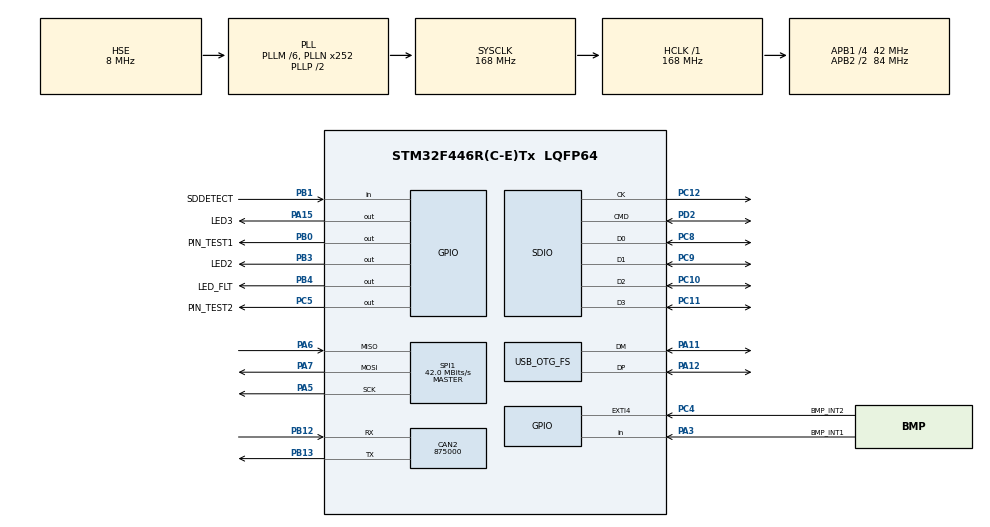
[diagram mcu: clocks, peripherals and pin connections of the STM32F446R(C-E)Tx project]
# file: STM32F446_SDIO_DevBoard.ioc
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CAN2.BS1=CAN_BS1_1TQ
CAN2.BS2=CAN_BS2_1TQ
CAN2.CalculateBaudRate=875000
CAN2.CalculateTimeBit=1142
CAN2.CalculateTimeQuantum=380.95238095238096
Dma.Request0=SDIO_TX
Dma.Request1=SDIO_RX
Dma.SDIO_RX.1.Direction=DMA_PERIPH_TO_MEMORY
Dma.SDIO_RX.1.FIFOMode=DMA_FIFOMODE_ENABLE
Dma.SDIO_RX.1.FIFOThreshold=DMA_FIFO_THRESHOLD_FULL
Dma.SDIO_RX.1.Instance=DMA2_Stream6
Dma.SDIO_RX.1.MemBurst=DMA_MBURST_INC4
Dma.SDIO_RX.1.MemDataAlignment=DMA_MDATAALIGN_WORD
Dma.SDIO_RX.1.MemInc=DMA_MINC_ENABLE
Dma.SDIO_RX.1.Mode=DMA_PFCTRL
Dma.SDIO_RX.1.PeriphBurst=DMA_PBURST_INC4
Dma.SDIO_RX.1.PeriphDataAlignment=DMA_PDATAALIGN_WORD
Dma.SDIO_RX.1.PeriphInc=DMA_PINC_DISABLE
Dma.SDIO_RX.1.Priority=DMA_PRIORITY_VERY_HIGH
Dma.SDIO_TX.0.Direction=DMA_MEMORY_TO_PERIPH
Dma.SDIO_TX.0.FIFOMode=DMA_FIFOMODE_ENABLE
Dma.SDIO_TX.0.FIFOThreshold=DMA_FIFO_THRESHOLD_FULL
Dma.SDIO_TX.0.Instance=DMA2_Stream3
Dma.SDIO_TX.0.MemBurst=DMA_MBURST_INC4
Dma.SDIO_TX.0.MemDataAlignment=DMA_MDATAALIGN_WORD
Dma.SDIO_TX.0.MemInc=DMA_MINC_ENABLE
Dma.SDIO_TX.0.Mode=DMA_PFCTRL
Dma.SDIO_TX.0.PeriphBurst=DMA_PBURST_INC4
Dma.SDIO_TX.0.PeriphDataAlignment=DMA_PDATAALIGN_WORD
Dma.SDIO_TX.0.PeriphInc=DMA_PINC_DISABLE
Dma.SDIO_TX.0.Priority=DMA_PRIORITY_VERY_HIGH
FATFS.BSP.number=1
FATFS.USE_DMA_CODE_SD=1
FATFS._FS_EXFAT=1
FATFS._FS_LOCK=1
FATFS._FS_TIMEOUT=1
FATFS._FS_TINY=0
FATFS._MAX_SS=4096
FATFS._MIN_SS=512
FATFS._USE_EXPAND=1
FATFS._USE_FIND=1
FATFS._USE_LFN=1
FATFS0.BSP.STBoard=false
FATFS0.BSP.api=Unknown
FATFS0.BSP.instance=PB1
FATFS0.BSP.ip=GPIO
FATFS0.BSP.mode=Input
FATFS0.BSP.name=Detect_SDIO
FATFS0.BSP.solution=PB1
Mcu.Family=STM32F4
Mcu.Name=STM32F446R(C-E)Tx
Mcu.Package=LQFP64
NVIC.DMA2_Stream3_IRQn=true\:0\:0\:false\:false\:true\:false\:true\:true
NVIC.DMA2_Stream6_IRQn=true\:0\:0\:false\:false\:true\:false\:true\:true
NVIC.OTG_FS_IRQn=true\:0\:0\:false\:false\:true\:true\:true\:true
NVIC.PriorityGroup=NVIC_PRIORITYGROUP_4
NVIC.SDIO_IRQn=true\:0\:0\:false\:false\:true\:true\:true\:true
NVIC.TIM7_IRQn=true\:3\:0\:true\:false\:true\:true\:true\:true
PA11.Mode=Device_Only
PA11.Signal=USB_OTG_FS_DM
PA12.Mode=Device_Only
PA12.Signal=USB_OTG_FS_DP
PA13.Mode=Serial_Wire
PA13.Signal=SYS_JTMS-SWDIO
PA14.Mode=Serial_Wire
PA14.Signal=SYS_JTCK-SWCLK
PA15.GPIO_Label=LED3
PA15.Signal=GPIO_Output
PA3.GPIO_Label=BMP_INT1
PA3.Signal=GPIO_Input
PA5.Mode=Full_Duplex_Master
PA5.Signal=SPI1_SCK
PA6.Mode=Full_Duplex_Master
PA6.Signal=SPI1_MISO
PA7.Mode=Full_Duplex_Master
PA7.Signal=SPI1_MOSI
PB0.GPIO_Label=PIN_TEST1
PB0.Signal=GPIO_Output
PB1.GPIO_Label=SDDETECT
PB1.Signal=GPIO_Input
PB12.Mode=CAN_Activate
PB12.Signal=CAN2_RX
PB13.Mode=CAN_Activate
PB13.Signal=CAN2_TX
PB3.GPIO_Label=LED2
PB3.Signal=GPIO_Output
PB4.GPIO_Label=LED_FLT
PB4.Signal=GPIO_Output
PC10.GPIO_PuPd=GPIO_PULLUP
PC10.GPIO_Speed_High_Default=GPIO_SPEED_FREQ_VERY_HIGH
PC10.Mode=SD_4_bits_Wide_bus
PC10.Signal=SDIO_D2
PC11.GPIO_PuPd=GPIO_PULLUP
PC11.GPIO_Speed_High_Default=GPIO_SPEED_FREQ_VERY_HIGH
PC11.Mode=SD_4_bits_Wide_bus
PC11.Signal=SDIO_D3
PC12.GPIO_Speed_High_Default=GPIO_SPEED_FREQ_VERY_HIGH
PC12.Mode=SD_4_bits_Wide_bus
PC12.Signal=SDIO_CK
PC4.GPIO_Label=BMP_INT2
PC4.Signal=GPXTI4
PC5.GPIO_Label=PIN_TEST2
PC5.Signal=GPIO_Output
PC8.GPIO_PuPd=GPIO_PULLUP
PC8.GPIO_Speed_High_Default=GPIO_SPEED_FREQ_VERY_HIGH
PC8.Mode=SD_4_bits_Wide_bus
PC8.Signal=SDIO_D0
PC9.GPIO_PuPd=GPIO_PULLUP
PC9.GPIO_Speed_High_Default=GPIO_SPEED_FREQ_VERY_HIGH
PC9.Mode=SD_4_bits_Wide_bus
PC9.Signal=SDIO_D1
PD2.GPIO_PuPd=GPIO_PULLUP
PD2.GPIO_Speed_High_Default=GPIO_SPEED_FREQ_VERY_HIGH
PD2.Mode=SD_4_bits_Wide_bus
PD2.Signal=SDIO_CMD
PH0-OSC_IN.Mode=HSE-External-Oscillator
PH0-OSC_IN.Signal=RCC_OSC_IN
PH1-OSC_OUT.Mode=HSE-External-Oscillator
PH1-OSC_OUT.Signal=RCC_OSC_OUT
ProjectManager.HeapSize=0x200
ProjectManager.StackSize=0x400
ProjectManager.TargetToolchain=STM32CubeIDE
RCC.AHBFreq_Value=168000000
RCC.APB1CLKDivider=RCC_HCLK_DIV4
RCC.APB1Freq_Value=42000000
RCC.APB1TimFreq_Value=84000000
RCC.APB2CLKDivider=RCC_HCLK_DIV2
RCC.APB2Freq_Value=84000000
RCC.APB2TimFreq_Value=168000000
RCC.CortexFreq_Value=168000000
RCC.HCLKFreq_Value=168000000
RCC.HSE_VALUE=8000000
RCC.PLLM=6
RCC.PLLN=252
RCC.PLLQ=7
RCC.SYSCLKFreq_VALUE=168000000
RCC.SYSCLKSource=RCC_SYSCLKSOURCE_PLLCLK
RCC.USBFreq_Value=48000000
RCC.VCOOutputFreq_Value=336000000
SDIO.ClockDiv=4
SPI1.CalculateBaudRate=42.0 MBits/s
SPI1.Direction=SPI_DIRECTION_2LINES
SPI1.Mode=SPI_MODE_MASTER
SPI1.VirtualType=VM_MASTER
TIM2.Prescaler=84-1
TIM6.Period=65535
TIM6.Prescaler=83
TIM7.Period=26000
USB_DEVICE.CLASS_NAME_FS=CDC
USB_DEVICE.PRODUCT_STRING_CDC_FS=STM32 VirtualComPort
USB_DEVICE.VirtualMode-CDC_FS=Cdc
USB_DEVICE.VirtualModeFS=Cdc_FS
USB_OTG_FS.VirtualMode=Device_Only
VP_FATFS_VS_SDIO.Mode=SDIO
VP_TIM2_VS_ClockSourceINT.Mode=Internal
VP_TIM3_VS_ClockSourceINT.Mode=Internal
VP_TIM6_VS_ClockSourceINT.Mode=Enable_Timer
VP_TIM7_VS_ClockSourceINT.Mode=Enable_Timer
VP_USB_DEVICE_VS_USB_DEVICE_CDC_FS.Mode=CDC_FS
board=custom

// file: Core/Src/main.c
/* USER CODE BEGIN Header */
/**
  ******************************************************************************
  * @file           : main.c
  * @brief          : Main program body
  ******************************************************************************
  * @attention
  *
  * Copyright (c) 2023 STMicroelectronics.
  * All rights reserved.
  *
  * This software is licensed under terms that can be found in the LICENSE file
  * in the root directory of this software component.
  * If no LICENSE file comes with this software, it is provided AS-IS.
  *
  ******************************************************************************
  */
/* USER CODE END Header */
#include "main.h"
#include "fatfs.h"
#include "usb_device.h"

/* USER CODE BEGIN Includes */
#include "VCP.h"
#include "blackbox.h"
#include "time.h"
#include "cpu_load.h"
#include "project_resources.h"
#include "console.h"
/* USER CODE END Includes */

/* USER CODE BEGIN PD */
//#define microsTimer htim2
/* USER CODE END PD */

CAN_HandleTypeDef hcan2;

SD_HandleTypeDef hsd;
DMA_HandleTypeDef hdma_sdio_tx;
DMA_HandleTypeDef hdma_sdio_rx;

SPI_HandleTypeDef hspi1;

TIM_HandleTypeDef htim2;
TIM_HandleTypeDef htim3;
TIM_HandleTypeDef htim6;
TIM_HandleTypeDef htim7;

/* USER CODE BEGIN PV */
//cpuLoad_t cpuLoadDelay;
//cpuLoad_t cpuLoadBlackbox;
//cpuLoad_t cpuLoadUSB;
//cpuLoad_t cpuLoadCLI;
//
//uint32_t delayMicroseconds = 100;

/* USER CODE END PV */

void SystemClock_Config(void);
static void MX_GPIO_Init(void);
static void MX_DMA_Init(void);
static void MX_CAN2_Init(void);
static void MX_SDIO_SD_Init(void);
static void MX_SPI1_Init(void);
static void MX_TIM3_Init(void);
static void MX_TIM7_Init(void);
static void MX_TIM6_Init(void);
static void MX_TIM2_Init(void);
/* USER CODE BEGIN PFP */
//void printCLI();
//void streamData();

/* USER CODE END PFP */

/* USER CODE BEGIN 0 */

/* USB VCP CLI */
//uint8_t sprintfBuffer[512] = {'\0'};
//
//uint32_t lastMillis = 0;
//uint32_t stopBlink = 0;
//uint32_t streamSDIO = 0;
//uint16_t writePeriod = 10;
//
///* SD card benchmarking */
//uint8_t doSDBenchmark = 0;
//
//volatile uint8_t simNewDataFlag = 0;
//
///* USB VCP CLI */
//uint8_t streamDataSet = 0;
//uint8_t streamBuffRem = 0;

/* USER CODE END 0 */

int main(void)
{

  /* MCU Configuration--------------------------------------------------------*/

  /* Reset of all peripherals, Initializes the Flash interface and the Systick. */
  HAL_Init();

  /* Configure the system clock */
  SystemClock_Config();

  /* Initialize all configured peripherals */
  MX_GPIO_Init();
  MX_DMA_Init();
  MX_CAN2_Init();
  MX_SDIO_SD_Init();
  MX_USB_DEVICE_Init();
  MX_SPI1_Init();
  MX_FATFS_Init();
  MX_TIM3_Init();
  MX_TIM7_Init();
  MX_TIM6_Init();
  MX_TIM2_Init();
  /* USER CODE BEGIN 2 */
  HAL_TIM_Base_Start_IT(&htim7);

  microsInit(&microsTimer);
  cpuLoad_Init(&cpuLoadDelay);
  cpuLoad_Init(&cpuLoadBlackbox);
  cpuLoad_Init(&cpuLoadUSB);
  cpuLoad_Init(&cpuLoadCLI);

  uint8_t sdResult;
  sdResult = blackbox_Init();

  if(sdResult == BLACKBOX_OK)
  {
	  uint8_t sdHeader[256];
	  sprintf(sdHeader, "Param1\n\rParam2\n\rParam3\n\rParam4\n\rParam5\n\r$$ end of header\n\r");
	  blackbox_SetHeader(sdHeader, strlen(sdHeader));

//	  sdResult = blackbox_CreateFile(loggingFileSize);
  }
  if(sdResult != FR_OK)
  {
//	  Error_Handler();
	  uint32_t sdErrorStartMillis = HAL_GetTick();
	  uint32_t sdErrorBlinkTime = sdErrorStartMillis;
	  while(HAL_GetTick() - sdErrorStartMillis < 5000)
	  {
		  if(HAL_GetTick() - sdErrorBlinkTime > 50)
		  {
			  sdErrorBlinkTime = HAL_GetTick();
			  HAL_GPIO_TogglePin(LED_FLT_GPIO_Port, LED_FLT_Pin);
		  }
	  }
  }

  cpuLoad_Reset();
  /* USER CODE END 2 */

  /* Infinite loop */
  /* USER CODE BEGIN WHILE */
  while (1)
  {
//HAL_GPIO_WritePin(PIN_TEST2_GPIO_Port, PIN_TEST2_Pin, GPIO_PIN_SET);

	  // Runtime LED blinking
	  if(HAL_GetTick() - lastMillis >= 200){
		  lastMillis = HAL_GetTick();
		  if(!stopBlink) HAL_GPIO_TogglePin(LED_FLT_GPIO_Port, LED_FLT_Pin);
	  }

	  cpuLoad_Start(&cpuLoadBlackbox);
	  if(streamSDIO)
	  {
		  static uint32_t lastSDMillis = 0;
		  if(simNewDataFlag)
		  {
			  simNewDataFlag = 0;
HAL_GPIO_WritePin(PIN_TEST1_GPIO_Port, PIN_TEST1_Pin, GPIO_PIN_SET);

			  uint8_t sdBuff[512] = {'\0'};
			  static uint32_t numLogs = 0;
//			  sprintf(sdBuff, "%u,4321,5678,8765,1111,2222,3333,4444,5555,6666,7777,8888,9999,\n", getMircos());
//			  sprintf(sdBuff, "%u,4321,5678,8765,1111,2222,3333,4444,5555,6666,7777,8888,9999,5678,6789,9876,8765,6543,4567,1245,5432,7654,8796,ENDS,\n", ++numLogs);

			  /* 84uS - 100uS to use sprintf */
//			  sprintf(sdBuff, "%u,%u,%u,%u,%u,%u,%u,%u,%u,%u,\n",
//					  getMircos(),
//					  (int16_t)(gyroPitchRaw*10.0f),
//					  (int16_t)(gyroPitchFilt*10.0f),
//					  (int16_t)(gyroRollRaw*10.0f),
//					  (int16_t)(gyroRollFilt*10.0f),
//					  (int16_t)(gyroYawRaw*10.0f),
//					  (int16_t)(gyroYawFilt*10.0f),
//					  (int16_t)(pitchP*1000.0f),
//					  (int16_t)(pitchI*1000.0f),
//					  (int16_t)(pitchD*1000.0f)
//					  );
//			  blackbox_BufferData(sdBuff, strlen(sdBuff));

			  /* 84uS - 25uS to use sprintf */
			  uint32_t microsNow = getMircos();
			  uint8_t frameIndex = 0;
			  blackboxFrame[frameIndex++] = 'S';
			  blackboxFrame[frameIndex++] = 'O';
			  blackboxFrame[frameIndex++] = 'F';
			  blackboxFrame[frameIndex++] = (microsNow >> 24) & 0xFF;
			  blackboxFrame[frameIndex++] = (microsNow >> 16) & 0xFF;
			  blackboxFrame[frameIndex++] = (microsNow >> 8) & 0xFF;
			  blackboxFrame[frameIndex++] = microsNow & 0xFF;
			  blackboxFrame[frameIndex++] = (((int16_t)(gyroPitchRaw*10.0f)) >> 8) & 0xFF;
			  blackboxFrame[frameIndex++] = ((int16_t)(gyroPitchRaw*10.0f)) & 0xFF;
			  blackboxFrame[frameIndex++] = (((int16_t)(gyroPitchFilt*10.0f)) >> 8) & 0xFF;
			  blackboxFrame[frameIndex++] = ((int16_t)(gyroPitchFilt*10.0f)) & 0xFF;
			  blackboxFrame[frameIndex++] = (((int16_t)(gyroRollRaw*10.0f)) >> 8) & 0xFF;
			  blackboxFrame[frameIndex++] = ((int16_t)(gyroRollRaw*10.0f)) & 0xFF;
			  blackboxFrame[frameIndex++] = (((int16_t)(gyroRollFilt*10.0f)) >> 8) & 0xFF;
			  blackboxFrame[frameIndex++] = ((int16_t)(gyroRollFilt*10.0f)) & 0xFF;
			  blackboxFrame[frameIndex++] = (((int16_t)(gyroYawRaw*10.0f)) >> 8) & 0xFF;
			  blackboxFrame[frameIndex++] = ((int16_t)(gyroYawRaw*10.0f)) & 0xFF;
			  blackboxFrame[frameIndex++] = (((int16_t)(gyroYawFilt*10.0f)) >> 8) & 0xFF;
			  blackboxFrame[frameIndex++] = ((int16_t)(gyroYawFilt*10.0f)) & 0xFF;
			  blackboxFrame[frameIndex++] = (((int16_t)(pitchP*1000.0f)) >> 8) & 0xFF;
			  blackboxFrame[frameIndex++] = ((int16_t)(pitchP*1000.0f)) & 0xFF;
			  blackboxFrame[frameIndex++] = (((int16_t)(pitchI*1000.0f)) >> 8) & 0xFF;
			  blackboxFrame[frameIndex++] = ((int16_t)(pitchI*1000.0f)) & 0xFF;
			  blackboxFrame[frameIndex++] = (((int16_t)(pitchD*1000.0f)) >> 8) & 0xFF;
			  blackboxFrame[frameIndex++] = ((int16_t)(pitchD*1000.0f)) & 0xFF;
			  blackbox_BufferData(blackboxFrame, (frameIndex));

HAL_GPIO_WritePin(PIN_TEST1_GPIO_Port, PIN_TEST1_Pin, GPIO_PIN_RESET);
		  }
	  }
//	  HAL_GPIO_WritePin(PIN_TEST2_GPIO_Port, PIN_TEST2_Pin, GPIO_PIN_SET);
	  blackbox_ProcessData(); // If new dataPending / send to DMA takes 55uS otherwise <1uS
//	  HAL_GPIO_WritePin(PIN_TEST2_GPIO_Port, PIN_TEST2_Pin, GPIO_PIN_RESET);
	  cpuLoad_End(&cpuLoadBlackbox);

	  cpuLoad_Start(&cpuLoadDelay);
//	  if(simNewDataFlag)
//	  {
//		  simNewDataFlag = 0;
//		  uint32_t tickstart = getMircos();
//		  while((getMircos() - tickstart) < delayMicroseconds)
//		  {
//
//		  }
//	  }
	  cpuLoad_End(&cpuLoadDelay);

//	 blackboxSDBenchmark(doSDBenchmark);
	  /* USB VCP CLI */
	  cpuLoad_Start(&cpuLoadCLI);
	  if(vcp_getRxCount()){printCLI();}
	  cpuLoad_End(&cpuLoadCLI);
	  streamData();
	  cpuLoad_Process();

    /* USER CODE END WHILE */

    /* USER CODE BEGIN 3 */
//HAL_GPIO_WritePin(PIN_TEST2_GPIO_Port, PIN_TEST2_Pin, GPIO_PIN_RESET);
  }
  /* USER CODE END 3 */
}

void SystemClock_Config(void)
{
  RCC_OscInitTypeDef RCC_OscInitStruct = {0};
  RCC_ClkInitTypeDef RCC_ClkInitStruct = {0};

  /** Configure the main internal regulator output voltage
  */
  __HAL_RCC_PWR_CLK_ENABLE();
  __HAL_PWR_VOLTAGESCALING_CONFIG(PWR_REGULATOR_VOLTAGE_SCALE1);

  /** Initializes the RCC Oscillators according to the specified parameters
  * in the RCC_OscInitTypeDef structure.
  */
  RCC_OscInitStruct.OscillatorType = RCC_OSCILLATORTYPE_HSE;
  RCC_OscInitStruct.HSEState = RCC_HSE_ON;
  RCC_OscInitStruct.PLL.PLLState = RCC_PLL_ON;
  RCC_OscInitStruct.PLL.PLLSource = RCC_PLLSOURCE_HSE;
  RCC_OscInitStruct.PLL.PLLM = 6;
  RCC_OscInitStruct.PLL.PLLN = 252;
  RCC_OscInitStruct.PLL.PLLP = RCC_PLLP_DIV2;
  RCC_OscInitStruct.PLL.PLLQ = 7;
  RCC_OscInitStruct.PLL.PLLR = 2;
  if (HAL_RCC_OscConfig(&RCC_OscInitStruct) != HAL_OK)
  {
    Error_Handler();
  }

  /** Initializes the CPU, AHB and APB buses clocks
  */
  RCC_ClkInitStruct.ClockType = RCC_CLOCKTYPE_HCLK|RCC_CLOCKTYPE_SYSCLK
                              |RCC_CLOCKTYPE_PCLK1|RCC_CLOCKTYPE_PCLK2;
  RCC_ClkInitStruct.SYSCLKSource = RCC_SYSCLKSOURCE_PLLCLK;
  RCC_ClkInitStruct.AHBCLKDivider = RCC_SYSCLK_DIV1;
  RCC_ClkInitStruct.APB1CLKDivider = RCC_HCLK_DIV4;
  RCC_ClkInitStruct.APB2CLKDivider = RCC_HCLK_DIV2;

  if (HAL_RCC_ClockConfig(&RCC_ClkInitStruct, FLASH_LATENCY_5) != HAL_OK)
  {
    Error_Handler();
  }
}

static void MX_CAN2_Init(void)
{

  hcan2.Instance = CAN2;
  hcan2.Init.Prescaler = 16;
  hcan2.Init.Mode = CAN_MODE_NORMAL;
  hcan2.Init.SyncJumpWidth = CAN_SJW_1TQ;
  hcan2.Init.TimeSeg1 = CAN_BS1_1TQ;
  hcan2.Init.TimeSeg2 = CAN_BS2_1TQ;
  hcan2.Init.TimeTriggeredMode = DISABLE;
  hcan2.Init.AutoBusOff = DISABLE;
  hcan2.Init.AutoWakeUp = DISABLE;
  hcan2.Init.AutoRetransmission = DISABLE;
  hcan2.Init.ReceiveFifoLocked = DISABLE;
  hcan2.Init.TransmitFifoPriority = DISABLE;
  if (HAL_CAN_Init(&hcan2) != HAL_OK)
  {
    Error_Handler();
  }

}

static void MX_SDIO_SD_Init(void)
{

  hsd.Instance = SDIO;
  hsd.Init.ClockEdge = SDIO_CLOCK_EDGE_RISING;
  hsd.Init.ClockBypass = SDIO_CLOCK_BYPASS_DISABLE;
  hsd.Init.ClockPowerSave = SDIO_CLOCK_POWER_SAVE_DISABLE;
  hsd.Init.BusWide = SDIO_BUS_WIDE_4B;
  hsd.Init.HardwareFlowControl = SDIO_HARDWARE_FLOW_CONTROL_DISABLE;
  hsd.Init.ClockDiv = 4;
  /* USER CODE BEGIN SDIO_Init 2 */
  hsd.Init.BusWide = SDIO_BUS_WIDE_1B; // cubeMX issue must default to 1 bit wide bus then init function updates to 4
  /* USER CODE END SDIO_Init 2 */

}

static void MX_SPI1_Init(void)
{

  /* SPI1 parameter configuration*/
  hspi1.Instance = SPI1;
  hspi1.Init.Mode = SPI_MODE_MASTER;
  hspi1.Init.Direction = SPI_DIRECTION_2LINES;
  hspi1.Init.DataSize = SPI_DATASIZE_8BIT;
  hspi1.Init.CLKPolarity = SPI_POLARITY_LOW;
  hspi1.Init.CLKPhase = SPI_PHASE_1EDGE;
  hspi1.Init.NSS = SPI_NSS_SOFT;
  hspi1.Init.BaudRatePrescaler = SPI_BAUDRATEPRESCALER_2;
  hspi1.Init.FirstBit = SPI_FIRSTBIT_MSB;
  hspi1.Init.TIMode = SPI_TIMODE_DISABLE;
  hspi1.Init.CRCCalculation = SPI_CRCCALCULATION_DISABLE;
  hspi1.Init.CRCPolynomial = 10;
  if (HAL_SPI_Init(&hspi1) != HAL_OK)
  {
    Error_Handler();
  }

}

static void MX_TIM2_Init(void)
{

  TIM_ClockConfigTypeDef sClockSourceConfig = {0};
  TIM_MasterConfigTypeDef sMasterConfig = {0};

  htim2.Instance = TIM2;
  htim2.Init.Prescaler = 84-1;
  htim2.Init.CounterMode = TIM_COUNTERMODE_UP;
  htim2.Init.Period = 4294967295;
  htim2.Init.ClockDivision = TIM_CLOCKDIVISION_DIV1;
  htim2.Init.AutoReloadPreload = TIM_AUTORELOAD_PRELOAD_DISABLE;
  if (HAL_TIM_Base_Init(&htim2) != HAL_OK)
  {
    Error_Handler();
  }
  sClockSourceConfig.ClockSource = TIM_CLOCKSOURCE_INTERNAL;
  if (HAL_TIM_ConfigClockSource(&htim2, &sClockSourceConfig) != HAL_OK)
  {
    Error_Handler();
  }
  sMasterConfig.MasterOutputTrigger = TIM_TRGO_RESET;
  sMasterConfig.MasterSlaveMode = TIM_MASTERSLAVEMODE_DISABLE;
  if (HAL_TIMEx_MasterConfigSynchronization(&htim2, &sMasterConfig) != HAL_OK)
  {
    Error_Handler();
  }

}

static void MX_TIM3_Init(void)
{

  TIM_ClockConfigTypeDef sClockSourceConfig = {0};
  TIM_MasterConfigTypeDef sMasterConfig = {0};

  htim3.Instance = TIM3;
  htim3.Init.Prescaler = 0;
  htim3.Init.CounterMode = TIM_COUNTERMODE_UP;
  htim3.Init.Period = 65535;
  htim3.Init.ClockDivision = TIM_CLOCKDIVISION_DIV1;
  htim3.Init.AutoReloadPreload = TIM_AUTORELOAD_PRELOAD_DISABLE;
  if (HAL_TIM_Base_Init(&htim3) != HAL_OK)
  {
    Error_Handler();
  }
  sClockSourceConfig.ClockSource = TIM_CLOCKSOURCE_INTERNAL;
  if (HAL_TIM_ConfigClockSource(&htim3, &sClockSourceConfig) != HAL_OK)
  {
    Error_Handler();
  }
  sMasterConfig.MasterOutputTrigger = TIM_TRGO_RESET;
  sMasterConfig.MasterSlaveMode = TIM_MASTERSLAVEMODE_DISABLE;
  if (HAL_TIMEx_MasterConfigSynchronization(&htim3, &sMasterConfig) != HAL_OK)
  {
    Error_Handler();
  }

}

static void MX_TIM6_Init(void)
{

  TIM_MasterConfigTypeDef sMasterConfig = {0};

  htim6.Instance = TIM6;
  htim6.Init.Prescaler = 83;
  htim6.Init.CounterMode = TIM_COUNTERMODE_UP;
  htim6.Init.Period = 65535;
  htim6.Init.AutoReloadPreload = TIM_AUTORELOAD_PRELOAD_DISABLE;
  if (HAL_TIM_Base_Init(&htim6) != HAL_OK)
  {
    Error_Handler();
  }
  sMasterConfig.MasterOutputTrigger = TIM_TRGO_RESET;
  sMasterConfig.MasterSlaveMode = TIM_MASTERSLAVEMODE_DISABLE;
  if (HAL_TIMEx_MasterConfigSynchronization(&htim6, &sMasterConfig) != HAL_OK)
  {
    Error_Handler();
  }

}

static void MX_TIM7_Init(void)
{

  TIM_MasterConfigTypeDef sMasterConfig = {0};

  htim7.Instance = TIM7;
  htim7.Init.Prescaler = 0;
  htim7.Init.CounterMode = TIM_COUNTERMODE_UP;
  htim7.Init.Period = 26000;
  htim7.Init.AutoReloadPreload = TIM_AUTORELOAD_PRELOAD_DISABLE;
  if (HAL_TIM_Base_Init(&htim7) != HAL_OK)
  {
    Error_Handler();
  }
  sMasterConfig.MasterOutputTrigger = TIM_TRGO_RESET;
  sMasterConfig.MasterSlaveMode = TIM_MASTERSLAVEMODE_DISABLE;
  if (HAL_TIMEx_MasterConfigSynchronization(&htim7, &sMasterConfig) != HAL_OK)
  {
    Error_Handler();
  }

}

static void MX_DMA_Init(void)
{

  /* DMA controller clock enable */
  __HAL_RCC_DMA2_CLK_ENABLE();

  /* DMA interrupt init */
  /* DMA2_Stream3_IRQn interrupt configuration */
  HAL_NVIC_SetPriority(DMA2_Stream3_IRQn, 0, 0);
  HAL_NVIC_EnableIRQ(DMA2_Stream3_IRQn);
  /* DMA2_Stream6_IRQn interrupt configuration */
  HAL_NVIC_SetPriority(DMA2_Stream6_IRQn, 0, 0);
  HAL_NVIC_EnableIRQ(DMA2_Stream6_IRQn);

}

static void MX_GPIO_Init(void)
{
  GPIO_InitTypeDef GPIO_InitStruct = {0};

  /* GPIO Ports Clock Enable */
  __HAL_RCC_GPIOH_CLK_ENABLE();
  __HAL_RCC_GPIOA_CLK_ENABLE();
  __HAL_RCC_GPIOC_CLK_ENABLE();
  __HAL_RCC_GPIOB_CLK_ENABLE();
  __HAL_RCC_GPIOD_CLK_ENABLE();

  /*Configure GPIO pin Output Level */
  HAL_GPIO_WritePin(PIN_TEST2_GPIO_Port, PIN_TEST2_Pin, GPIO_PIN_RESET);

  /*Configure GPIO pin Output Level */
  HAL_GPIO_WritePin(GPIOB, PIN_TEST1_Pin|LED2_Pin|LED_FLT_Pin, GPIO_PIN_RESET);

  /*Configure GPIO pin Output Level */
  HAL_GPIO_WritePin(LED3_GPIO_Port, LED3_Pin, GPIO_PIN_RESET);

  /*Configure GPIO pin : BMP_INT1_Pin */
  GPIO_InitStruct.Pin = BMP_INT1_Pin;
  GPIO_InitStruct.Mode = GPIO_MODE_INPUT;
  GPIO_InitStruct.Pull = GPIO_NOPULL;
  HAL_GPIO_Init(BMP_INT1_GPIO_Port, &GPIO_InitStruct);

  /*Configure GPIO pin : BMP_INT2_Pin */
  GPIO_InitStruct.Pin = BMP_INT2_Pin;
  GPIO_InitStruct.Mode = GPIO_MODE_IT_RISING;
  GPIO_InitStruct.Pull = GPIO_NOPULL;
  HAL_GPIO_Init(BMP_INT2_GPIO_Port, &GPIO_InitStruct);

  /*Configure GPIO pin : PIN_TEST2_Pin */
  GPIO_InitStruct.Pin = PIN_TEST2_Pin;
  GPIO_InitStruct.Mode = GPIO_MODE_OUTPUT_PP;
  GPIO_InitStruct.Pull = GPIO_NOPULL;
  GPIO_InitStruct.Speed = GPIO_SPEED_FREQ_LOW;
  HAL_GPIO_Init(PIN_TEST2_GPIO_Port, &GPIO_InitStruct);

  /*Configure GPIO pins : PIN_TEST1_Pin LED2_Pin LED_FLT_Pin */
  GPIO_InitStruct.Pin = PIN_TEST1_Pin|LED2_Pin|LED_FLT_Pin;
  GPIO_InitStruct.Mode = GPIO_MODE_OUTPUT_PP;
  GPIO_InitStruct.Pull = GPIO_NOPULL;
  GPIO_InitStruct.Speed = GPIO_SPEED_FREQ_LOW;
  HAL_GPIO_Init(GPIOB, &GPIO_InitStruct);

  /*Configure GPIO pin : SDDETECT_Pin */
  GPIO_InitStruct.Pin = SDDETECT_Pin;
  GPIO_InitStruct.Mode = GPIO_MODE_INPUT;
  GPIO_InitStruct.Pull = GPIO_NOPULL;
  HAL_GPIO_Init(SDDETECT_GPIO_Port, &GPIO_InitStruct);

  /*Configure GPIO pin : LED3_Pin */
  GPIO_InitStruct.Pin = LED3_Pin;
  GPIO_InitStruct.Mode = GPIO_MODE_OUTPUT_PP;
  GPIO_InitStruct.Pull = GPIO_NOPULL;
  GPIO_InitStruct.Speed = GPIO_SPEED_FREQ_LOW;
  HAL_GPIO_Init(LED3_GPIO_Port, &GPIO_InitStruct);

}

/* USER CODE BEGIN 4 */

int _write(int file, char *data, int len)
{
	uint8_t usbReturnStatus = CDC_Transmit_FS((uint8_t*) data, len);
	if(usbReturnStatus) return 0;
//   if(usbReturnStatus)
//   {
//	   for(int i=0; i<500; i++)
//	   {
//		   usbReturnStatus = CDC_Transmit_FS((uint8_t*) data, len);
//		   if(usbReturnStatus == 0)
//			   {
//			   return len;
//			   }
//	   }
//	   return 0;
//   }
   return len;
}

//void vcp_TransmitCplt()
//{
//	memset(sprintfBuffer, '\0', strlen(sprintfBuffer));
//}

//void printCLI(void)
//{
////	char read_Value = usart_Read(&huart1);
//	char read_Value = vcp_Read();
//
//	/* Reset all streaming variables */
//	memset(sprintfBuffer, '\0', strlen(sprintfBuffer));
//	if(read_Value == 'h')
//	{
//		sprintf(sprintfBuffer,"\n\r"
//				"a - Blink\n\r"
//				"d - SD Detect Pin\n\r"
//				"1 - Close File\n\r"
//				"2 - Sync\n\r"
//				"3 - Create File\n\r"
//				"s - SteamSDIO\n\r"
//				"f - fetFree\n\r"
//				"m - Card Info\n\r"
//				"c - Card States\n\r"
//				"v - Benchmark Stats\n\r"
//				"z - SD Benchmark\n\r"
//				"x - Write kBps\n\r"
//				"l - CPU Load\n\r"
//				"o - Delay--\n\r"
//				"p - Delay++\n\r"
//				"r - Reset CPU load\n\r"
//				"\n"
//				);
//		CDC_Transmit_FS((uint8_t*) sprintfBuffer, strlen(sprintfBuffer));
//	}
//	else if(read_Value == 'a')
//	{
//		if(stopBlink) stopBlink = 0;
//		else stopBlink = 1;
//	}
//	else if(read_Value == 'd')
//	{
//		sprintf(sprintfBuffer,"SD Inserted\n\r");
//		if(HAL_GPIO_ReadPin(SDDETECT_GPIO_Port, SDDETECT_Pin)){
//			sprintf(sprintfBuffer,"NO SD INSERTED\n\r");
//		}
//		CDC_Transmit_FS((uint8_t*) sprintfBuffer, strlen(sprintfBuffer));
//	}
//	else if(read_Value == '1')
//	{
//		uint8_t res = blackbox_CloseFile();
//		if(res == 0){
//			sprintf(sprintfBuffer,"Closed Successfully\n\r");
//		}
//		else{
//			sprintf(sprintfBuffer,"Close Failed %u\n\r", res);
//		}
//
//		CDC_Transmit_FS((uint8_t*) sprintfBuffer, strlen(sprintfBuffer));
//	}
//	else if(read_Value == '2')
//	{
//		HAL_GPIO_WritePin(PIN_TEST1_GPIO_Port, PIN_TEST1_Pin, GPIO_PIN_SET);
//		blackbox_Sync();
//		HAL_GPIO_WritePin(PIN_TEST1_GPIO_Port, PIN_TEST1_Pin, GPIO_PIN_RESET);
//	}
//	else if(read_Value == '3')
//	{
//		uint8_t res = blackbox_CreateFile(MEGABYTE*100);
//		if(res == 0){
//			sprintf(sprintfBuffer,"File Created\n\r");
//		}
//		else{
//			sprintf(sprintfBuffer,"File Failed %u\n\r", res);
//		}
//		CDC_Transmit_FS((uint8_t*) sprintfBuffer, strlen(sprintfBuffer));
//	}
//	else if(read_Value == 's')
//	{
//		 streamSDIO = streamSDIO ^ 1;
//	}
//	else if(read_Value == 'f')
//	{
//		if(!streamDataSet)
//		{
//			streamDataSet = 1;
//			streamBuffRem = 1;
//		}
//		else
//		{
//			streamDataSet = 0;
//			streamBuffRem = 0;
//		}
//	}
//	else if(read_Value == 'm')
//	{
//		sprintf(sprintfBuffer,"\n\r"
//				"CardType %u\n\r"
//				"CardVersion %u\n\r"
//				"Class %u\n\r"
//				"RelCardAdd %u\n\r"
//				"BlockNbr %u\n\r"
//				"BlockSize %u\n\r"
//				"LogBlockNbr %u\n\r"
//				"LogBlockSize %u\n\r"
//				"\n",
//				sdGetCardType(),
//				sdGetCardVersion(),
//				sdGetCardClass(),
//				sdGetCardAdd(),
//				sdGetCardBlockNber(),
//				sdGetCardBlockSize(),
//				sdGetCardLogBlkNber(),
//				sdGetCardLogBlockSize()
//				);
//		CDC_Transmit_FS((uint8_t*) sprintfBuffer, strlen(sprintfBuffer));
//	}
//	else if(read_Value == 'c')
//	{
//		sprintf(sprintfBuffer,"\n\r"
//				"Ready %u\n\r"
//				"Identification %u\n\r"
//				"Standby %u\n\r"
//				"Transfer %u\n\r"
//				"Sending %u\n\r"
//				"Receiving %u\n\r"
//				"Programming %u\n\r"
//				"Disconnected %u\n\r"
//				"DMA Busy %u\n\r"
//				"Buffer Full %u\n\r"
//				"Error %u\n\r"
//				"File Full %u\n\r"
//				"\n",
//				SD_CARD_READY_COUNT,
//				SD_CARD_IDENTIFICATION_COUNT,
//				SD_CARD_STANDBY_COUNT,
//				SD_CARD_TRANSFER_COUNT,
//				SD_CARD_SENDING_COUNT,
//				SD_CARD_RECEIVING_COUNT,
//				SD_CARD_PROGRAMMING_COUNT,
//				SD_CARD_DISCONNECTED_COUNT,
//				SD_CARD_DMA_BUSY_COUNT,
//				SD_CARD_BUFFER_FULL_COUNT,
//				SD_CARD_ERROR_COUNT,
//				blackboxIsFileFull()
//				);
//		CDC_Transmit_FS((uint8_t*) sprintfBuffer, strlen(sprintfBuffer));
//	}
//	else if(read_Value == 'v')
//	{
//		sprintf(sprintfBuffer,"\n\r"
//				"<300us %u\n\r"
//				"<500us %u\n\r"
//				"<1ms %u\n\r"
//				"<2ms %u\n\r"
//				"<10ms %u\n\r"
//				"<200mS %u\n\r"
//				">200mS %u\n\r"
//				"Max ms %u\n\r"
//				"\n",
//				SD_CARD_LATENCY_1_300,
//				SD_CARD_LATENCY_301_500,
//				SD_CARD_LATENCY_501_1000,
//				SD_CARD_LATENCY_1001_2000,
//				SD_CARD_LATENCY_2001_10000,
//				SD_CARD_LATENCY_10001_200000,
//				SD_CARD_LATENCY_200msplus,
//				SD_CARD_LATENCY_MAX
//				);
//		CDC_Transmit_FS((uint8_t*) sprintfBuffer, strlen(sprintfBuffer));
//	}
//	else if(read_Value == 'z')
//	{
//		doSDBenchmark = doSDBenchmark ^ 1;
//	}
//	else if(read_Value == 'x')
//	{
//		sprintf(sprintfBuffer, "Write kBps %u\n\r", sdGetWritekBps());
//		CDC_Transmit_FS((uint8_t*) sprintfBuffer, strlen(sprintfBuffer));
//	}
//	else if(read_Value == 'l')
//	{
//		sprintf(sprintfBuffer,
//				"CPU Load %u\n\r"
//				"Min Loop %u\n\r"
//				"Max Loop %u\n\r",
//				cpuLoad_GetPercentLoad(),
//				cpuLoad_GetMinLoopTime(),
//				cpuLoad_GetMaxLoopTime());
//		CDC_Transmit_FS((uint8_t*) sprintfBuffer, strlen(sprintfBuffer));
//	}
//	else if(read_Value == 'o')
//	{
//		if(delayMicroseconds > 1) delayMicroseconds--;
//		sprintf(sprintfBuffer, "Delay %u\n\r", delayMicroseconds);
//		CDC_Transmit_FS((uint8_t*) sprintfBuffer, strlen(sprintfBuffer));
//	}
//	else if(read_Value == 'p')
//	{
//		if(delayMicroseconds < 100000) delayMicroseconds++;
//		sprintf(sprintfBuffer, "Delay %u\n\r", delayMicroseconds);
//		CDC_Transmit_FS((uint8_t*) sprintfBuffer, strlen(sprintfBuffer));
//	}
//	else if(read_Value == 'r')
//	{
//		cpuLoad_Reset();
//		sprintf(sprintfBuffer, "CPU Load Calculation Reset\n\r");
//		CDC_Transmit_FS((uint8_t*) sprintfBuffer, strlen(sprintfBuffer));
//	}
//	else
//	{
//		sprintf(sprintfBuffer, "Invalid Command");
//		CDC_Transmit_FS((uint8_t*) sprintfBuffer, strlen(sprintfBuffer));
//	}
//}

void HAL_TIM_PeriodElapsedCallback(TIM_HandleTypeDef *htim)
{
	simNewDataFlag = 1;
}

//void streamData()
//{
//	static uint32_t printLastTimeMillis = 0;
//	if(streamDataSet)
//	{
//		if(HAL_GetTick() - printLastTimeMillis >= 5)
//		{
//			printLastTimeMillis = HAL_GetTick();
//			if(streamBuffRem)
//			{
//				sprintf(sprintfBuffer, "%u\n", blackboxGetBufferAvailable());
//				CDC_Transmit_FS((uint8_t*) sprintfBuffer, strlen(sprintfBuffer));
//			}
//		}
//	}
//}

/* USER CODE END 4 */

void Error_Handler(void)
{
  /* USER CODE BEGIN Error_Handler_Debug */
	  HAL_GPIO_WritePin(LED_FLT_GPIO_Port, LED_FLT_Pin, GPIO_PIN_SET);
  /* User can add his own implementation to report the HAL error return state */
  __disable_irq();
  while (1)
  {
  }
  /* USER CODE END Error_Handler_Debug */
}
